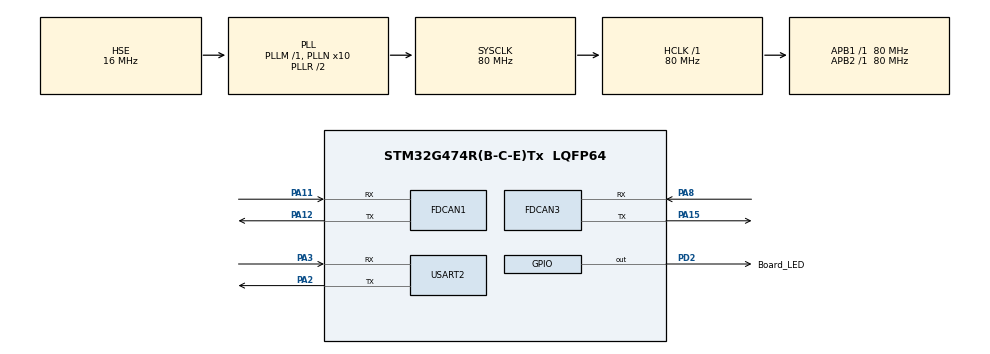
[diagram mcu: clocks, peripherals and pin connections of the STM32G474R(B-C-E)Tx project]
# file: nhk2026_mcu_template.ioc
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FDCAN1.CalculateBaudRateNominal=1000000
FDCAN1.CalculateTimeBitNominal=1000
FDCAN1.CalculateTimeQuantumNominal=50.0
FDCAN1.DataPrescaler=2
FDCAN1.DataTimeSeg1=15
FDCAN1.DataTimeSeg2=4
FDCAN1.FrameFormat=FDCAN_FRAME_FD_BRS
FDCAN1.NominalPrescaler=4
FDCAN1.NominalTimeSeg1=15
FDCAN1.NominalTimeSeg2=4
FDCAN1.StdFiltersNbr=1
FDCAN3.CalculateBaudRateNominal=1000000
FDCAN3.CalculateTimeBitNominal=1000
FDCAN3.CalculateTimeQuantumNominal=50.0
FDCAN3.DataPrescaler=2
FDCAN3.DataTimeSeg1=15
FDCAN3.DataTimeSeg2=4
FDCAN3.FrameFormat=FDCAN_FRAME_FD_BRS
FDCAN3.NominalPrescaler=4
FDCAN3.NominalTimeSeg1=15
FDCAN3.NominalTimeSeg2=4
FDCAN3.StdFiltersNbr=1
Mcu.Family=STM32G4
Mcu.Name=STM32G474R(B-C-E)Tx
Mcu.Package=LQFP64
NVIC.FDCAN1_IT0_IRQn=true\:0\:0\:false\:false\:true\:true\:true\:true
NVIC.FDCAN1_IT1_IRQn=true\:0\:0\:false\:false\:true\:true\:true\:true
NVIC.FDCAN3_IT0_IRQn=true\:0\:0\:false\:false\:true\:true\:true\:true
NVIC.FDCAN3_IT1_IRQn=true\:0\:0\:false\:false\:true\:true\:true\:true
NVIC.PriorityGroup=NVIC_PRIORITYGROUP_4
NVIC.TIM6_DAC_IRQn=true\:0\:0\:false\:false\:true\:true\:true\:true
NVIC.TIM7_DAC_IRQn=true\:0\:0\:false\:false\:true\:true\:true\:true
PA11.Mode=FDCAN_Activate
PA11.Signal=FDCAN1_RX
PA12.Mode=FDCAN_Activate
PA12.Signal=FDCAN1_TX
PA15.Mode=FDCAN_Activate
PA15.Signal=FDCAN3_TX
PA2.Mode=Asynchronous
PA2.Signal=USART2_TX
PA3.Mode=Asynchronous
PA3.Signal=USART2_RX
PA8.Mode=FDCAN_Activate
PA8.Signal=FDCAN3_RX
PD2.GPIO_Label=Board_LED
PD2.Signal=GPIO_Output
PF0-OSC_IN.Mode=HSE-External-Oscillator
PF0-OSC_IN.Signal=RCC_OSC_IN
PF1-OSC_OUT.Mode=HSE-External-Oscillator
PF1-OSC_OUT.Signal=RCC_OSC_OUT
ProjectManager.HeapSize=0x200
ProjectManager.StackSize=0x400
ProjectManager.TargetToolchain=CMake
RCC.ADC12Freq_Value=80000000
RCC.ADC345Freq_Value=80000000
RCC.AHBFreq_Value=80000000
RCC.APB1Freq_Value=80000000
RCC.APB1TimFreq_Value=80000000
RCC.APB2Freq_Value=80000000
RCC.APB2TimFreq_Value=80000000
RCC.CortexFreq_Value=80000000
RCC.EXTERNAL_CLOCK_VALUE=12288000
RCC.HCLKFreq_Value=80000000
RCC.HSE_VALUE=16000000
RCC.HSI48_VALUE=48000000
RCC.HSI_VALUE=16000000
RCC.LSE_VALUE=32768
RCC.PLLN=10
RCC.PLLSourceVirtual=RCC_PLLSOURCE_HSE
RCC.SYSCLKFreq_VALUE=80000000
RCC.SYSCLKSource=RCC_SYSCLKSOURCE_PLLCLK
RCC.USBFreq_Value=80000000
RCC.VCOOutputFreq_Value=160000000
TIM6.PeriodNoDither=7999
TIM6.Prescaler=9
TIM7.PeriodNoDither=7999
TIM7.Prescaler=9
USART2.VirtualMode-Asynchronous=VM_ASYNC
VP_SYS_VS_DBSignals.Mode=DisableDeadBatterySignals
VP_TIM6_VS_ClockSourceINT.Mode=Enable_Timer
VP_TIM7_VS_ClockSourceINT.Mode=Enable_Timer
board=custom

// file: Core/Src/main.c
/* USER CODE BEGIN Header */
/**
  ******************************************************************************
  * @file           : main.c
  * @brief          : Main program body
  ******************************************************************************
  * @attention
  *
  * Copyright (c) 2025 STMicroelectronics.
  * All rights reserved.
  *
  * This software is licensed under terms that can be found in the LICENSE file
  * in the root directory of this software component.
  * If no LICENSE file comes with this software, it is provided AS-IS.
  *
  ******************************************************************************
  */
/* USER CODE END Header */
#include "main.h"

/* USER CODE BEGIN Includes */
#include <stdio.h>
#include <math.h>
/* USER CODE END Includes */

/* USER CODE BEGIN PTD */
typedef struct{
	volatile uint16_t CANID;
	volatile uint8_t motorID;
	volatile int16_t actVel;
	volatile int16_t p_actVel;
	volatile int16_t actangle;
	volatile int16_t p_actangle;
	volatile int16_t actCurrent;
	volatile int16_t cu;
	volatile float motor_pos_ref;
	volatile float motor_spd;
	volatile float motor_spd_ref;
	volatile float pos_err;
	volatile float last_pos_err;
	volatile float sum_pos_err;
	volatile float sum_err;
	volatile float output_val;
	volatile uint32_t last_update_time;
	volatile float diff_pro;
	volatile float motor_pos;
	volatile int16_t trgVel;
	volatile float hensa;
	volatile float ind;
}motor;

typedef struct
{
  uint16_t CANID;
  uint8_t motorID;
  volatile float trgVel;
}hiradora;

typedef float float32_t;
typedef uint16_t float16_t;
/* USER CODE END PTD */

/* USER CODE BEGIN PD */
#define r 0.06617//m
/* USER CODE END PD */

FDCAN_HandleTypeDef hfdcan1;
FDCAN_HandleTypeDef hfdcan3;

TIM_HandleTypeDef htim6;
TIM_HandleTypeDef htim7;

UART_HandleTypeDef huart2;

/* USER CODE BEGIN PV */
FDCAN_TxHeaderTypeDef TxHeader;
FDCAN_TxHeaderTypeDef TxHeader_motor;

motor robomas[4] = {
  {0x201, 1, 0, 0, 0, 0, 0, 0, 0, 0, 0, 0, 0, 0, 0, 0, 0, 0, 0, 0},
  {0x202, 2, 0, 0, 0, 0, 0, 0, 0, 0, 0, 0, 0, 0, 0, 0, 0, 0, 0, 0},
  {0x203, 3, 0, 0, 0, 0, 0, 0, 0, 0, 0, 0, 0, 0, 0, 0, 0, 0, 0, 0},
  {0x204, 4, 0, 0, 0, 0, 0, 0, 0, 0, 0, 0, 0, 0, 0, 0, 0, 0, 0, 0},
};

hiradora Hiradora[8] = {
  {0x401, 1, 0},
  {0x402, 2, 0},
  {0x403, 3, 0},
  {0x404, 4, 0},
  {0x405, 5, 0},
  {0x406, 6, 0},
  {0x407, 7, 0},
  {0x408, 8, 0},
};

volatile float v[2] = {0};

float kp = 300, ki = 0, kd = 0;
float max_sum_pos_err = 10000;
float max_output_val = 10000;
/* USER CODE END PV */

void SystemClock_Config(void);
static void MX_GPIO_Init(void);
static void MX_USART2_UART_Init(void);
static void MX_FDCAN1_Init(void);
static void MX_FDCAN3_Init(void);
static void MX_TIM6_Init(void);
static void MX_TIM7_Init(void);
/* USER CODE BEGIN PFP */
void interboard_comms_CAN_filter_init(FDCAN_FilterTypeDef *Hfdcan_Filter_Settings);
void interboard_comms_CAN_txheader_init(FDCAN_TxHeaderTypeDef *Htxheader);
HAL_StatusTypeDef interboard_comms_CAN_RxTxSettings_init(FDCAN_TxHeaderTypeDef *Htxheader);
HAL_StatusTypeDef CAN_SEND(uint32_t CANID, uint8_t *txdata, FDCAN_HandleTypeDef *hfdcan, FDCAN_TxHeaderTypeDef *htxheader);

void motor_CAN_filter_init(FDCAN_FilterTypeDef *Hfdcan_Filter_Settings);
void motor_CAN_txheader_init(FDCAN_TxHeaderTypeDef *Htxheader);
HAL_StatusTypeDef motor_CAN_RxTxSettings_init(FDCAN_TxHeaderTypeDef *Htxheader);

void move_motor(motor *motor_typedef);

float16_t convert_f32_f16(float32_t);
float32_t convert_f16_f32(float16_t);

void move_hiradora(hiradora *Hiradora_handler);
/* USER CODE END PFP */

/* USER CODE BEGIN 0 */
void HAL_FDCAN_RxFifo1Callback(FDCAN_HandleTypeDef *hfdcan, uint32_t RxFifo1ITs){
	if (RESET != (RxFifo1ITs & FDCAN_IT_RX_FIFO1_NEW_MESSAGE)) {

    /* Retrieve Rx messages from RX FIFO1 */
		uint8_t RxData[64] = {};
    FDCAN_RxHeaderTypeDef RxHeader;
		if (HAL_OK != HAL_FDCAN_GetRxMessage(&hfdcan1, FDCAN_RX_FIFO1, &RxHeader, RxData)) {
			printf("fdcan_getrxmessage is error\r\n");
			Error_Handler();
		}
    if (0x200 == RxHeader.Identifier)
    {
      union Data
      {
        uint32_t data_ui32;
        float32_t data_f32;
      };
      for (int i = 0; i < 2; i++)
      {
        union Data data;
        data.data_ui32 = (uint32_t)((RxData[i*4] << 24) | (RxData[i*4 + 1] << 16) | (RxData[i*4 + 2] << 8) | RxData[i*4 + 3]);
        v[i] = data.data_f32;
      }

    }
    else if (0x201 == RxHeader.Identifier)
    {
      union Data
      {
        uint32_t data_ui32;
        float32_t data_f32;
      };
      union Data data;
      data.data_ui32 = (uint32_t)((RxData[0] << 24) | (RxData[1] << 16) | (RxData[2] << 8) | RxData[3]);
      robomas[0].motor_pos_ref = data.data_f32;
    }
	}
}

void HAL_FDCAN_RxFifo0Callback(FDCAN_HandleTypeDef *hfdcan, uint32_t RxFifo0ITs){
	if ((RxFifo0ITs & FDCAN_IT_RX_FIFO0_NEW_MESSAGE) != RESET) {

    /* Retrieve Rx messages from RX FIFO0 */
		uint8_t RxData_motor[8] = {};
    FDCAN_RxHeaderTypeDef RxHeader_motor;
		if (HAL_OK != HAL_FDCAN_GetRxMessage(&hfdcan3, FDCAN_RX_FIFO0, &RxHeader_motor, RxData_motor)) {
			printf("fdcan_getrxmessage_motor is error\r\n");
			Error_Handler();
		}
		/*receive robomas's status*/
		for (int i=0; i < 8; i++){
			if (RxHeader_motor.Identifier == (robomas[i].CANID)) {
				robomas[i].actangle = (int16_t)((RxData_motor[0] << 8) | RxData_motor[1]);
				robomas[i].actVel = (int16_t)((RxData_motor[2] << 8) | RxData_motor[3]);
				robomas[i].actCurrent = (int16_t)((RxData_motor[4] << 8) | RxData_motor[5]);
			}
		}
	}
}

void HAL_TIM_PeriodElapsedCallback(TIM_HandleTypeDef *htim)
{
  if (&htim6 == htim)
  {
		float k_p = 7, k_i = 0.5, k_d = 0.01;
		for (int i = 0; i < 1; i++){
			robomas[i].hensa = robomas[i].trgVel - robomas[i].actVel;
			if (robomas[i].hensa >= 1000) robomas[i].hensa = 1000;
			else if (robomas[i].hensa <= -1000) robomas[i].hensa = -1000;
			float d = (robomas[i].actVel - robomas[i].p_actVel) / 0.001;
			robomas[i].ind += robomas[i].hensa*0.1;
			if (d >= 30000) d = 30000;
			else if (d <= -30000) d = -30000;
			if (robomas[i].ind >= 10000) robomas[i].ind = 10000;
			else if (robomas[i].ind <= -10000) robomas[i].ind = -10000;

			float t = k_p*robomas[i].hensa;
			if (t>=10000) t = 10000;
			else if (t<=-10000) t = -10000;
			robomas[i].cu = (int16_t)(t+k_i*robomas[i].ind+k_d*d);
			if (robomas[i].cu <= -10000) robomas[i].cu = -10000;
			else if (robomas[i].cu >= 10000) robomas[i].cu = 10000;

			robomas[i].p_actVel = robomas[i].actVel;
		}
    Hiradora[0].trgVel = v[1]*60/(r*M_PI);
    Hiradora[1].trgVel = -v[0]*60/(r*M_PI);
    move_hiradora(Hiradora);
    move_motor(robomas);
  }
  else if (&htim7 == htim)
  {

    for (int i = 0; i < 1; i++) {
      robomas[i].motor_spd = (float)robomas[i].actVel / 60.0;

      robomas[i].diff_pro=(float)(robomas[i].actangle - robomas[i].p_actangle);

      float diff;
      if(robomas[i].actVel >=10000){
        diff = (robomas[i].diff_pro < 0 ? robomas[i].diff_pro + 8192 : robomas[i].diff_pro);
      }else if(robomas[i].actVel <= -10000){
        diff = (robomas[i].diff_pro > 0 ? robomas[i].diff_pro - 8192 : robomas[i].diff_pro);
      }else if( robomas[i].diff_pro < 5000 && robomas[i].diff_pro > -5000){
        diff = robomas[i].diff_pro;
      }else if (robomas[i].diff_pro > 0){
        diff = robomas[i].diff_pro - 8192;
      }else
        diff = robomas[i].diff_pro + 8192;

      robomas[i].p_actangle = robomas[i].actangle;

      float dt = 0.001;
      robomas[i].motor_pos += diff/8192.0;
      robomas[i].motor_spd = diff / 8192.0 / dt;

      float p_gain = (robomas[i].motor_pos_ref - robomas[i].motor_pos) * kp;
      robomas[i].pos_err = robomas[i].motor_pos_ref - robomas[i].motor_pos;
      if(robomas[i].pos_err>10||robomas[i].pos_err<-10){
        robomas[i].pos_err = 0;
      }
      robomas[i].sum_pos_err += robomas[i].pos_err * dt;
      robomas[i].last_pos_err = robomas[i].pos_err;
      if(robomas[i].sum_pos_err >= max_sum_pos_err){
        robomas[i].sum_pos_err = max_sum_pos_err;
      }
      else if(robomas[i].sum_pos_err <= -max_sum_pos_err){
        robomas[i].sum_pos_err = -max_sum_pos_err;
      }
      float i_gain = robomas[i].sum_pos_err * ki;

      float d_gain = robomas[i].motor_spd * kd;

      robomas[i].trgVel = (p_gain + i_gain + d_gain);
    }
  }
}

int _write(int file,char *ptr,int len)
{
  HAL_UART_Transmit(&huart2, (uint8_t*)ptr, len, 10);
  return len;
}
/* USER CODE END 0 */

int main(void)
{

  /* USER CODE BEGIN 1 */
  setbuf(stdout, NULL);
  /* USER CODE END 1 */

  /* MCU Configuration--------------------------------------------------------*/

  /* Reset of all peripherals, Initializes the Flash interface and the Systick. */
  HAL_Init();

  /* Configure the system clock */
  SystemClock_Config();

  /* Initialize all configured peripherals */
  MX_GPIO_Init();
  MX_USART2_UART_Init();
  MX_FDCAN1_Init();
  MX_FDCAN3_Init();
  MX_TIM6_Init();
  MX_TIM7_Init();
  /* USER CODE BEGIN 2 */
  if (HAL_OK != interboard_comms_CAN_RxTxSettings_init(&TxHeader)) Error_Handler();
  if (HAL_OK != motor_CAN_RxTxSettings_init(&TxHeader_motor)) Error_Handler();

  HAL_TIM_Base_Start_IT(&htim6);
  HAL_TIM_Base_Start_IT(&htim7);
  /* USER CODE END 2 */

  /* Infinite loop */
  /* USER CODE BEGIN WHILE */
  while (1)
  {
    printf("vr:%f, vl:%f\r\n", v[0], v[1]);
    /* USER CODE END WHILE */

  }
}

void SystemClock_Config(void)
{
  RCC_OscInitTypeDef RCC_OscInitStruct = {0};
  RCC_ClkInitTypeDef RCC_ClkInitStruct = {0};

  /** Configure the main internal regulator output voltage
  */
  HAL_PWREx_ControlVoltageScaling(PWR_REGULATOR_VOLTAGE_SCALE1);

  /** Initializes the RCC Oscillators according to the specified parameters
  * in the RCC_OscInitTypeDef structure.
  */
  RCC_OscInitStruct.OscillatorType = RCC_OSCILLATORTYPE_HSE;
  RCC_OscInitStruct.HSEState = RCC_HSE_ON;
  RCC_OscInitStruct.PLL.PLLState = RCC_PLL_ON;
  RCC_OscInitStruct.PLL.PLLSource = RCC_PLLSOURCE_HSE;
  RCC_OscInitStruct.PLL.PLLM = RCC_PLLM_DIV1;
  RCC_OscInitStruct.PLL.PLLN = 10;
  RCC_OscInitStruct.PLL.PLLP = RCC_PLLP_DIV2;
  RCC_OscInitStruct.PLL.PLLQ = RCC_PLLQ_DIV2;
  RCC_OscInitStruct.PLL.PLLR = RCC_PLLR_DIV2;
  if (HAL_RCC_OscConfig(&RCC_OscInitStruct) != HAL_OK)
  {
    Error_Handler();
  }

  /** Initializes the CPU, AHB and APB buses clocks
  */
  RCC_ClkInitStruct.ClockType = RCC_CLOCKTYPE_HCLK|RCC_CLOCKTYPE_SYSCLK
                              |RCC_CLOCKTYPE_PCLK1|RCC_CLOCKTYPE_PCLK2;
  RCC_ClkInitStruct.SYSCLKSource = RCC_SYSCLKSOURCE_PLLCLK;
  RCC_ClkInitStruct.AHBCLKDivider = RCC_SYSCLK_DIV1;
  RCC_ClkInitStruct.APB1CLKDivider = RCC_HCLK_DIV1;
  RCC_ClkInitStruct.APB2CLKDivider = RCC_HCLK_DIV1;

  if (HAL_RCC_ClockConfig(&RCC_ClkInitStruct, FLASH_LATENCY_2) != HAL_OK)
  {
    Error_Handler();
  }
}

static void MX_FDCAN1_Init(void)
{

  hfdcan1.Instance = FDCAN1;
  hfdcan1.Init.ClockDivider = FDCAN_CLOCK_DIV1;
  hfdcan1.Init.FrameFormat = FDCAN_FRAME_FD_BRS;
  hfdcan1.Init.Mode = FDCAN_MODE_NORMAL;
  hfdcan1.Init.AutoRetransmission = DISABLE;
  hfdcan1.Init.TransmitPause = DISABLE;
  hfdcan1.Init.ProtocolException = DISABLE;
  hfdcan1.Init.NominalPrescaler = 4;
  hfdcan1.Init.NominalSyncJumpWidth = 1;
  hfdcan1.Init.NominalTimeSeg1 = 15;
  hfdcan1.Init.NominalTimeSeg2 = 4;
  hfdcan1.Init.DataPrescaler = 2;
  hfdcan1.Init.DataSyncJumpWidth = 1;
  hfdcan1.Init.DataTimeSeg1 = 15;
  hfdcan1.Init.DataTimeSeg2 = 4;
  hfdcan1.Init.StdFiltersNbr = 1;
  hfdcan1.Init.ExtFiltersNbr = 0;
  hfdcan1.Init.TxFifoQueueMode = FDCAN_TX_FIFO_OPERATION;
  if (HAL_FDCAN_Init(&hfdcan1) != HAL_OK)
  {
    Error_Handler();
  }

}

static void MX_FDCAN3_Init(void)
{

  hfdcan3.Instance = FDCAN3;
  hfdcan3.Init.ClockDivider = FDCAN_CLOCK_DIV1;
  hfdcan3.Init.FrameFormat = FDCAN_FRAME_FD_BRS;
  hfdcan3.Init.Mode = FDCAN_MODE_NORMAL;
  hfdcan3.Init.AutoRetransmission = DISABLE;
  hfdcan3.Init.TransmitPause = DISABLE;
  hfdcan3.Init.ProtocolException = DISABLE;
  hfdcan3.Init.NominalPrescaler = 4;
  hfdcan3.Init.NominalSyncJumpWidth = 1;
  hfdcan3.Init.NominalTimeSeg1 = 15;
  hfdcan3.Init.NominalTimeSeg2 = 4;
  hfdcan3.Init.DataPrescaler = 2;
  hfdcan3.Init.DataSyncJumpWidth = 1;
  hfdcan3.Init.DataTimeSeg1 = 15;
  hfdcan3.Init.DataTimeSeg2 = 4;
  hfdcan3.Init.StdFiltersNbr = 1;
  hfdcan3.Init.ExtFiltersNbr = 0;
  hfdcan3.Init.TxFifoQueueMode = FDCAN_TX_FIFO_OPERATION;
  if (HAL_FDCAN_Init(&hfdcan3) != HAL_OK)
  {
    Error_Handler();
  }

}

static void MX_TIM6_Init(void)
{

  TIM_MasterConfigTypeDef sMasterConfig = {0};

  htim6.Instance = TIM6;
  htim6.Init.Prescaler = 9;
  htim6.Init.CounterMode = TIM_COUNTERMODE_UP;
  htim6.Init.Period = 7999;
  htim6.Init.AutoReloadPreload = TIM_AUTORELOAD_PRELOAD_DISABLE;
  if (HAL_TIM_Base_Init(&htim6) != HAL_OK)
  {
    Error_Handler();
  }
  sMasterConfig.MasterOutputTrigger = TIM_TRGO_RESET;
  sMasterConfig.MasterSlaveMode = TIM_MASTERSLAVEMODE_DISABLE;
  if (HAL_TIMEx_MasterConfigSynchronization(&htim6, &sMasterConfig) != HAL_OK)
  {
    Error_Handler();
  }

}

static void MX_TIM7_Init(void)
{

  TIM_MasterConfigTypeDef sMasterConfig = {0};

  htim7.Instance = TIM7;
  htim7.Init.Prescaler = 9;
  htim7.Init.CounterMode = TIM_COUNTERMODE_UP;
  htim7.Init.Period = 7999;
  htim7.Init.AutoReloadPreload = TIM_AUTORELOAD_PRELOAD_DISABLE;
  if (HAL_TIM_Base_Init(&htim7) != HAL_OK)
  {
    Error_Handler();
  }
  sMasterConfig.MasterOutputTrigger = TIM_TRGO_RESET;
  sMasterConfig.MasterSlaveMode = TIM_MASTERSLAVEMODE_DISABLE;
  if (HAL_TIMEx_MasterConfigSynchronization(&htim7, &sMasterConfig) != HAL_OK)
  {
    Error_Handler();
  }

}

static void MX_USART2_UART_Init(void)
{

  huart2.Instance = USART2;
  huart2.Init.BaudRate = 115200;
  huart2.Init.WordLength = UART_WORDLENGTH_8B;
  huart2.Init.StopBits = UART_STOPBITS_1;
  huart2.Init.Parity = UART_PARITY_NONE;
  huart2.Init.Mode = UART_MODE_TX_RX;
  huart2.Init.HwFlowCtl = UART_HWCONTROL_NONE;
  huart2.Init.OverSampling = UART_OVERSAMPLING_16;
  huart2.Init.OneBitSampling = UART_ONE_BIT_SAMPLE_DISABLE;
  huart2.Init.ClockPrescaler = UART_PRESCALER_DIV1;
  huart2.AdvancedInit.AdvFeatureInit = UART_ADVFEATURE_NO_INIT;
  if (HAL_UART_Init(&huart2) != HAL_OK)
  {
    Error_Handler();
  }
  if (HAL_UARTEx_SetTxFifoThreshold(&huart2, UART_TXFIFO_THRESHOLD_1_8) != HAL_OK)
  {
    Error_Handler();
  }
  if (HAL_UARTEx_SetRxFifoThreshold(&huart2, UART_RXFIFO_THRESHOLD_1_8) != HAL_OK)
  {
    Error_Handler();
  }
  if (HAL_UARTEx_DisableFifoMode(&huart2) != HAL_OK)
  {
    Error_Handler();
  }

}

static void MX_GPIO_Init(void)
{
  GPIO_InitTypeDef GPIO_InitStruct = {0};

  /* GPIO Ports Clock Enable */
  __HAL_RCC_GPIOF_CLK_ENABLE();
  __HAL_RCC_GPIOA_CLK_ENABLE();
  __HAL_RCC_GPIOD_CLK_ENABLE();

  /*Configure GPIO pin Output Level */
  HAL_GPIO_WritePin(Board_LED_GPIO_Port, Board_LED_Pin, GPIO_PIN_RESET);

  /*Configure GPIO pin : Board_LED_Pin */
  GPIO_InitStruct.Pin = Board_LED_Pin;
  GPIO_InitStruct.Mode = GPIO_MODE_OUTPUT_PP;
  GPIO_InitStruct.Pull = GPIO_NOPULL;
  GPIO_InitStruct.Speed = GPIO_SPEED_FREQ_LOW;
  HAL_GPIO_Init(Board_LED_GPIO_Port, &GPIO_InitStruct);

}

/* USER CODE BEGIN 4 */
void interboard_comms_CAN_filter_init(FDCAN_FilterTypeDef *Hfdcan_Filter_Settings)
{
  Hfdcan_Filter_Settings->IdType = FDCAN_STANDARD_ID;
  Hfdcan_Filter_Settings->FilterIndex = 0;
  Hfdcan_Filter_Settings->FilterType = FDCAN_FILTER_RANGE;
  Hfdcan_Filter_Settings->FilterConfig = FDCAN_FILTER_TO_RXFIFO1;
  Hfdcan_Filter_Settings->FilterID1 = 0x00;
  Hfdcan_Filter_Settings->FilterID2 = 0x7ff;
}

void interboard_comms_CAN_txheader_init(FDCAN_TxHeaderTypeDef *Htxheader)
{
  Htxheader->Identifier = 0x00;
  Htxheader->IdType = FDCAN_STANDARD_ID;
  Htxheader->TxFrameType = FDCAN_DATA_FRAME;
  Htxheader->DataLength = FDCAN_DLC_BYTES_8;
  Htxheader->ErrorStateIndicator = FDCAN_ESI_ACTIVE;
  Htxheader->FDFormat = FDCAN_FD_CAN;
  Htxheader->BitRateSwitch = FDCAN_BRS_ON;
  Htxheader->TxEventFifoControl = FDCAN_NO_TX_EVENTS;
  Htxheader->MessageMarker = 0;
}

HAL_StatusTypeDef interboard_comms_CAN_RxTxSettings_init(FDCAN_TxHeaderTypeDef *Htxheader)
{
  FDCAN_FilterTypeDef FDCAN_Filter_settings;
  interboard_comms_CAN_filter_init(&FDCAN_Filter_settings);
  interboard_comms_CAN_txheader_init(Htxheader);
  if (HAL_OK != HAL_FDCAN_ConfigFilter(&hfdcan1, &FDCAN_Filter_settings))
  {
    printf("fdcan_configfilter is error\r\n");
    return HAL_ERROR;
  }
  if (HAL_OK != HAL_FDCAN_ConfigGlobalFilter(&hfdcan1, FDCAN_REJECT, FDCAN_FILTER_REJECT, FDCAN_FILTER_REMOTE, FDCAN_FILTER_REMOTE))
  {
    printf("fdcan_configglobalfilter is error\r\n");
    return HAL_ERROR;
  }
  if (HAL_OK != HAL_FDCAN_Start(&hfdcan1))
  {
    printf("fdcan_start is error\r\n");
    return HAL_ERROR;
  }
  if (HAL_OK != HAL_FDCAN_ActivateNotification(&hfdcan1, FDCAN_IT_RX_FIFO1_NEW_MESSAGE, 0))
  {
    printf("fdcan_activatenotification is error\r\n");
    return HAL_ERROR;
  }

  return HAL_OK;
}

HAL_StatusTypeDef CAN_SEND(uint32_t CANID, uint8_t *txdata, FDCAN_HandleTypeDef *hfdcan, FDCAN_TxHeaderTypeDef *htxheader)
{
  htxheader->Identifier = CANID;
  if (HAL_OK != HAL_FDCAN_AddMessageToTxFifoQ(hfdcan, htxheader, txdata))
  {
    printf("addmessage error\r\n");
    return HAL_ERROR;
  }
  return HAL_OK;
}

void motor_CAN_filter_init(FDCAN_FilterTypeDef *Hfdcan_Filter_Settings)
{
  Hfdcan_Filter_Settings->IdType = FDCAN_STANDARD_ID;
  Hfdcan_Filter_Settings->FilterIndex = 0;
  Hfdcan_Filter_Settings->FilterType = FDCAN_FILTER_RANGE;
  Hfdcan_Filter_Settings->FilterConfig = FDCAN_FILTER_TO_RXFIFO0;
  Hfdcan_Filter_Settings->FilterID1 = 0x200;
  Hfdcan_Filter_Settings->FilterID2 = 0x410;
}

void motor_CAN_txheader_init(FDCAN_TxHeaderTypeDef *Htxheader)
{
  Htxheader->Identifier = 0x200;
  Htxheader->IdType = FDCAN_STANDARD_ID;
  Htxheader->TxFrameType = FDCAN_DATA_FRAME;
  Htxheader->DataLength = FDCAN_DLC_BYTES_8;
  Htxheader->ErrorStateIndicator = FDCAN_ESI_ACTIVE;
  Htxheader->FDFormat = FDCAN_CLASSIC_CAN;
  Htxheader->BitRateSwitch = FDCAN_BRS_ON;
  Htxheader->TxEventFifoControl = FDCAN_NO_TX_EVENTS;
  Htxheader->MessageMarker = 0;
}

HAL_StatusTypeDef motor_CAN_RxTxSettings_init(FDCAN_TxHeaderTypeDef *Htxheader)
{
  FDCAN_FilterTypeDef FDCAN_Filter_settings;
  motor_CAN_filter_init(&FDCAN_Filter_settings);
  motor_CAN_txheader_init(Htxheader);
  if (HAL_OK != HAL_FDCAN_ConfigFilter(&hfdcan3, &FDCAN_Filter_settings))
  {
    printf("fdcan_configfilter is error\r\n");
    return HAL_ERROR;
  }
  if (HAL_OK != HAL_FDCAN_ConfigGlobalFilter(&hfdcan3, FDCAN_REJECT, FDCAN_FILTER_REJECT, FDCAN_FILTER_REMOTE, FDCAN_FILTER_REMOTE))
  {
    printf("fdcan_configglobalfilter is error\r\n");
    return HAL_ERROR;
  }
  if (HAL_OK != HAL_FDCAN_Start(&hfdcan3))
  {
    printf("fdcan_start is error\r\n");
    return HAL_ERROR;
  }
  if (HAL_OK != HAL_FDCAN_ActivateNotification(&hfdcan3, FDCAN_IT_RX_FIFO0_NEW_MESSAGE, 0))
  {
    printf("fdcan_activatenotification is error\r\n");
    return HAL_ERROR;
  }

  return HAL_OK;
}

void move_motor(motor *motor_typedef)
{
  uint8_t TxData[8] = {};
  for (int i = 0; i < 4; i++)
  {
    TxData[i*2] = (uint8_t)(motor_typedef->cu >> 8);
    TxData[i*2 + 1] = (uint8_t)(motor_typedef->cu & 0xff);
  }
  CAN_SEND(0x200, TxData, &hfdcan3, &TxHeader_motor);
}

float16_t convert_f32_f16(float32_t fp32){
    uint32_t fp32_bits = *(uint32_t*)&fp32;
    uint16_t sign = (fp32_bits >> 31) & 1;
    uint16_t exponent = (fp32_bits >> 23) & 0xff;
    uint32_t mantissa = fp32_bits & 0x7fffff;
    uint16_t fp16_bits;

    if(exponent == 0xFF){
        if(mantissa == 0){
            //NaN
            fp16_bits = 0x1F << 10 | 1;
        }else{
            //+inf/-inf
            fp16_bits = sign << 15 | 0x1F << 10;
        }
    }else{
        if(exponent > 16 + 127){
            //Overflow
            fp16_bits = sign << 15 | 0x1F << 10;
        }else if(exponent < - 15 + 127){
            //Underflow
            return sign << 15;
        }else{
            fp16_bits = sign << 15 | (exponent + 15 - 127) << 10 | mantissa >> 14;
        }
    }
    return *(float16_t*)&fp16_bits;
}

float32_t convert_f16_f32(float16_t fp16){
    uint16_t fp16_bits = *(uint16_t*)&fp16;
    uint32_t sign = (fp16_bits >> 15) & 1;
    uint32_t exponent = (fp16_bits >> 10) & 0x1F;
    uint32_t mantissa = fp16_bits & 0x3FF;
    uint32_t fp32_bits = 0;

    if(exponent == 0x1F){
        if(mantissa == 0){
            //NaN
            fp32_bits = 0xFF << 23 | 1;
        }else{
            //+inf/-inf
            fp32_bits = sign << 31 | 0xFF << 23;
        }
    }else{
        if(exponent == 0){
            fp32_bits = sign << 31;
        }else{
            fp32_bits = sign << 31 | (exponent - 15 + 127) << 23 | mantissa << 14;
        }
    }

    return *(float32_t*)&fp32_bits;
}

void move_hiradora(hiradora *Hiradora_handler)
{
  uint8_t TxData[8] = {0};
  for (int i = 0; i < 3; i++)
  {
    float16_t trgVel_f16 = convert_f32_f16((float32_t)Hiradora_handler[i].trgVel);
    TxData[i*2] = (uint8_t)(trgVel_f16 >> 8);
    TxData[i*2 + 1] = (uint8_t)(trgVel_f16 & 0xff);
  }
  CAN_SEND(0x400, TxData, &hfdcan3, &TxHeader_motor);
}
/* USER CODE END 4 */

void Error_Handler(void)
{
  __disable_irq();
  while (1)
  {
  }
}
